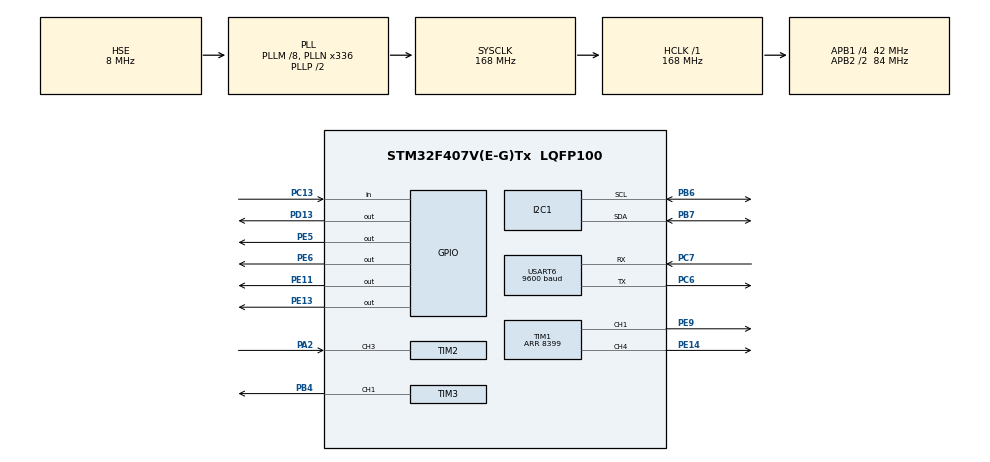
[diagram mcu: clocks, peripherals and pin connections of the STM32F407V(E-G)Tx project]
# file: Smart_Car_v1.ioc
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Mcu.Family=STM32F4
Mcu.Name=STM32F407V(E-G)Tx
Mcu.Package=LQFP100
NVIC.I2C1_ER_IRQn=true\:0\:0\:false\:false\:true\:true\:true\:true
NVIC.I2C1_EV_IRQn=true\:0\:0\:false\:false\:true\:true\:true\:true
NVIC.PriorityGroup=NVIC_PRIORITYGROUP_4
NVIC.TIM1_UP_TIM10_IRQn=true\:4\:0\:true\:false\:true\:true\:true\:true
NVIC.TIM2_IRQn=true\:3\:0\:true\:false\:true\:true\:true\:true
NVIC.USART6_IRQn=true\:2\:0\:true\:false\:true\:true\:true\:true
PA13.GPIO_Label=SWDIO
PA13.Mode=Serial_Wire
PA13.Signal=SYS_JTMS-SWDIO
PA14.GPIO_Label=SWCLK
PA14.Mode=Serial_Wire
PA14.Signal=SYS_JTCK-SWCLK
PA2.Signal=S_TIM2_CH3
PB4.Signal=S_TIM3_CH1
PB6.Mode=I2C
PB6.Signal=I2C1_SCL
PB7.Mode=I2C
PB7.Signal=I2C1_SDA
PC13-ANTI_TAMP.Signal=GPIO_Input
PC6.Mode=Asynchronous
PC6.Signal=USART6_TX
PC7.Mode=Asynchronous
PC7.Signal=USART6_RX
PD13.Signal=GPIO_Output
PE11.Signal=GPIO_Output
PE13.Signal=GPIO_Output
PE14.Signal=S_TIM1_CH4
PE5.Signal=GPIO_Output
PE6.Signal=GPIO_Output
PE9.Signal=S_TIM1_CH1
PH0-OSC_IN.GPIO_Label=PH0-OSC_IN
PH0-OSC_IN.Mode=HSE-External-Oscillator
PH0-OSC_IN.Signal=RCC_OSC_IN
PH1-OSC_OUT.GPIO_Label=PH1-OSC_OUT
PH1-OSC_OUT.Mode=HSE-External-Oscillator
PH1-OSC_OUT.Signal=RCC_OSC_OUT
ProjectManager.HeapSize=0x200
ProjectManager.StackSize=0x400
ProjectManager.TargetToolchain=STM32CubeIDE
RCC.48MHZClocksFreq_Value=48000000
RCC.AHBFreq_Value=168000000
RCC.APB1CLKDivider=RCC_HCLK_DIV4
RCC.APB1Freq_Value=42000000
RCC.APB1TimFreq_Value=84000000
RCC.APB2CLKDivider=RCC_HCLK_DIV2
RCC.APB2Freq_Value=84000000
RCC.APB2TimFreq_Value=168000000
RCC.CortexFreq_Value=168000000
RCC.HCLKFreq_Value=168000000
RCC.HSE_VALUE=8000000
RCC.HSI_VALUE=16000000
RCC.LSE_VALUE=32768
RCC.PLLM=8
RCC.PLLN=336
RCC.PLLQ=7
RCC.PLLSourceVirtual=RCC_PLLSOURCE_HSE
RCC.SYSCLKFreq_VALUE=168000000
RCC.SYSCLKSource=RCC_SYSCLKSOURCE_PLLCLK
RCC.VCOOutputFreq_Value=336000000
SH.S_TIM1_CH1.0=TIM1_CH1,PWM Generation1 CH1
SH.S_TIM1_CH4.0=TIM1_CH4,PWM Generation4 CH4
SH.S_TIM2_CH3.0=TIM2_CH3,Input_Capture3_from_TI3
SH.S_TIM3_CH1.0=TIM3_CH1,PWM Generation1 CH1
TIM1.Channel-PWM\ Generation1\ CH1=TIM_CHANNEL_1
TIM1.Channel-PWM\ Generation4\ CH4=TIM_CHANNEL_4
TIM1.Period=8399
TIM1.Pulse-PWM\ Generation1\ CH1=4200
TIM1.Pulse-PWM\ Generation4\ CH4=4200
TIM2.Channel-Input_Capture3_from_TI3=TIM_CHANNEL_3
TIM2.ICPolarity_CH3=TIM_INPUTCHANNELPOLARITY_BOTHEDGE
TIM2.Prescaler=83
TIM3.Channel-PWM\ Generation1\ CH1=TIM_CHANNEL_1
TIM3.Period=1999
TIM3.Prescaler=839
USART6.BaudRate=9600
USART6.VirtualMode=VM_ASYNC
VP_TIM1_VS_ClockSourceINT.Mode=Internal
VP_TIM2_VS_ClockSourceINT.Mode=Internal
VP_TIM3_VS_ClockSourceINT.Mode=Internal
board=STM32F407G-DISC1

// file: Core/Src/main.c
/* USER CODE BEGIN Header */
/**
  ******************************************************************************
  * @file           : main.c
  * @brief          : Main program body
  ******************************************************************************
  * @attention
  *
  * Copyright (c) 2026 STMicroelectronics.
  * All rights reserved.
  *
  * This software is licensed under terms that can be found in the LICENSE file
  * in the root directory of this software component.
  * If no LICENSE file comes with this software, it is provided AS-IS.
  *
  ******************************************************************************
  */
/* USER CODE END Header */
#include "main.h"

/* USER CODE BEGIN Includes */
#include <stdint.h>
#include <stdio.h>
#include <string.h>
#include "motor_driver.h"
#include "bluetooth.h"
/* USER CODE END Includes */

/* USER CODE BEGIN PTD */
typedef enum {
    CAR_STOP,
    CAR_FORWARD,
    CAR_BACKWARD,
    CAR_LEFT,
    CAR_RIGHT,
    CAR_FORWARD_LEFT,
    CAR_FORWARD_RIGHT,
    CAR_BACKWARD_LEFT,
    CAR_BACKWARD_RIGHT,
} CarState_t;
/* USER CODE END PTD */

/* USER CODE BEGIN PD */
#define IS_FWD(s) ((s)==CAR_FORWARD||(s)==CAR_FORWARD_LEFT||(s)==CAR_FORWARD_RIGHT)
#define IS_BWD(s) ((s)==CAR_BACKWARD||(s)==CAR_BACKWARD_LEFT||(s)==CAR_BACKWARD_RIGHT)
/* USER CODE END PD */

I2C_HandleTypeDef hi2c1;

TIM_HandleTypeDef htim1;
TIM_HandleTypeDef htim2;
TIM_HandleTypeDef htim3;

UART_HandleTypeDef huart6;

void SystemClock_Config(void);
static void MX_GPIO_Init(void);
static void MX_I2C1_Init(void);
static void MX_TIM1_Init(void);
static void MX_TIM2_Init(void);
static void MX_TIM3_Init(void);
static void MX_USART6_UART_Init(void);

int main(void)
{

  /* MCU Configuration--------------------------------------------------------*/

  /* Reset of all peripherals, Initializes the Flash interface and the Systick. */
  HAL_Init();

  /* Configure the system clock */
  SystemClock_Config();

  /* Initialize all configured peripherals */
  MX_GPIO_Init();
  MX_I2C1_Init();
  MX_TIM1_Init();
  MX_TIM2_Init();
  MX_TIM3_Init();
  MX_USART6_UART_Init();
  /* USER CODE BEGIN 2 */
  HAL_Delay(2000);
  motor_init(&htim1);
  bluetooth_init(&huart6);

  char boot_msg[] = "SmartCar Ready\r\n";
  HAL_UART_Transmit(&huart6, (uint8_t*)boot_msg, strlen(boot_msg), 100);
  /* USER CODE END 2 */

  /* Infinite loop */
  while (1)
  {

    /* USER CODE BEGIN 3 */
    static CarState_t state        = CAR_STOP;
    static CarState_t pending      = CAR_STOP;  /* 換向緩衝：等停止後再套用 */
    static uint32_t   stop_until   = 0;         /* 停止保持到這個 tick */
    static uint32_t   last_print   = 0;

    /* 換向緩衝：停止 100ms 後才切換到 pending 狀態 */
    if (pending != CAR_STOP && HAL_GetTick() >= stop_until) {
        state   = pending;
        pending = CAR_STOP;
    }

    /* 藍牙指令 */
    BtCmd_t bt = bluetooth_get_cmd();
    if (bt != BT_CMD_NONE) {
        switch (bt) {
            case BT_CMD_FORWARD:
                if (IS_BWD(state)) {          /* 後退→前進：插入 100ms 停止 */
                    state      = CAR_STOP;
                    pending    = CAR_FORWARD;
                    stop_until = HAL_GetTick() + 100;
                } else {
                    state = CAR_FORWARD;
                }
                break;
            case BT_CMD_BACKWARD:
                if (IS_FWD(state)) {          /* 前進→後退：插入 100ms 停止 */
                    state      = CAR_STOP;
                    pending    = CAR_BACKWARD;
                    stop_until = HAL_GetTick() + 100;
                } else {
                    state = CAR_BACKWARD;
                }
                break;
            case BT_CMD_LEFT:
                if (state == CAR_FORWARD  || state == CAR_FORWARD_LEFT  || state == CAR_FORWARD_RIGHT)
                    state = CAR_FORWARD_LEFT;
                else if (state == CAR_BACKWARD || state == CAR_BACKWARD_LEFT || state == CAR_BACKWARD_RIGHT)
                    state = CAR_BACKWARD_LEFT;
                else if (state == CAR_RIGHT)
                    state = CAR_STOP;  /* 反向 pivot 先停，避免方向瞬切 */
                else
                    state = CAR_LEFT;
                break;
            case BT_CMD_RIGHT:
                if (state == CAR_FORWARD  || state == CAR_FORWARD_LEFT  || state == CAR_FORWARD_RIGHT)
                    state = CAR_FORWARD_RIGHT;
                else if (state == CAR_BACKWARD || state == CAR_BACKWARD_LEFT || state == CAR_BACKWARD_RIGHT)
                    state = CAR_BACKWARD_RIGHT;
                else if (state == CAR_LEFT)
                    state = CAR_STOP;  /* 反向 pivot 先停，避免方向瞬切 */
                else
                    state = CAR_RIGHT;
                break;
            case BT_CMD_STOP:
                state = CAR_STOP;
                break;
            default: break;
        }
    }

    /* 狀態機 */
    switch (state) {
        case CAR_STOP:
            motor_stop();
            break;
        case CAR_FORWARD:
            motor_drive(MOTOR_FORWARD, MOTOR_PWM_MAX, MOTOR_FORWARD, MOTOR_PWM_MAX);
            break;
        case CAR_BACKWARD:
            motor_drive(MOTOR_BACKWARD, MOTOR_PWM_MAX, MOTOR_BACKWARD, MOTOR_PWM_MAX);
            break;
        case CAR_LEFT:
            motor_drive(MOTOR_STOP, 0, MOTOR_FORWARD, MOTOR_PWM_MAX);
            break;
        case CAR_RIGHT:
            motor_drive(MOTOR_FORWARD, MOTOR_PWM_MAX, MOTOR_STOP, 0);
            break;
        case CAR_FORWARD_LEFT:
            motor_drive(MOTOR_FORWARD, MOTOR_PWM_INNER, MOTOR_FORWARD, MOTOR_PWM_MAX);
            break;
        case CAR_FORWARD_RIGHT:
            motor_drive(MOTOR_FORWARD, MOTOR_PWM_MAX, MOTOR_FORWARD, MOTOR_PWM_INNER);
            break;
        case CAR_BACKWARD_LEFT:
            motor_drive(MOTOR_BACKWARD, MOTOR_PWM_INNER, MOTOR_BACKWARD, MOTOR_PWM_MAX);
            break;
        case CAR_BACKWARD_RIGHT:
            motor_drive(MOTOR_BACKWARD, MOTOR_PWM_MAX, MOTOR_BACKWARD, MOTOR_PWM_INNER);
            break;
    }

    /* telemetry：每 300ms 送一次給 App */
    if (HAL_GetTick() - last_print >= 300) {
        last_print = HAL_GetTick();  /* 先記錄時間，避免阻塞傳輸導致計時偏移 */
        uint16_t spd_pct = (state == CAR_STOP) ? 0
                         : (state == CAR_FORWARD_LEFT || state == CAR_BACKWARD_LEFT
                            || state == CAR_FORWARD_RIGHT || state == CAR_BACKWARD_RIGHT)
                           ? (MOTOR_PWM_INNER * 100U / MOTOR_PWM_MAX) : 100;
        bluetooth_send_status(spd_pct, state);
    }

    HAL_Delay(20);
  }
  /* USER CODE END 3 */
}

void SystemClock_Config(void)
{
  RCC_OscInitTypeDef RCC_OscInitStruct = {0};
  RCC_ClkInitTypeDef RCC_ClkInitStruct = {0};

  /** Configure the main internal regulator output voltage
  */
  __HAL_RCC_PWR_CLK_ENABLE();
  __HAL_PWR_VOLTAGESCALING_CONFIG(PWR_REGULATOR_VOLTAGE_SCALE1);

  /** Initializes the RCC Oscillators according to the specified parameters
  * in the RCC_OscInitTypeDef structure.
  */
  RCC_OscInitStruct.OscillatorType = RCC_OSCILLATORTYPE_HSE;
  RCC_OscInitStruct.HSEState = RCC_HSE_ON;
  RCC_OscInitStruct.PLL.PLLState = RCC_PLL_ON;
  RCC_OscInitStruct.PLL.PLLSource = RCC_PLLSOURCE_HSE;
  RCC_OscInitStruct.PLL.PLLM = 8;
  RCC_OscInitStruct.PLL.PLLN = 336;
  RCC_OscInitStruct.PLL.PLLP = RCC_PLLP_DIV2;
  RCC_OscInitStruct.PLL.PLLQ = 7;
  if (HAL_RCC_OscConfig(&RCC_OscInitStruct) != HAL_OK)
  {
    Error_Handler();
  }

  /** Initializes the CPU, AHB and APB buses clocks
  */
  RCC_ClkInitStruct.ClockType = RCC_CLOCKTYPE_HCLK|RCC_CLOCKTYPE_SYSCLK
                              |RCC_CLOCKTYPE_PCLK1|RCC_CLOCKTYPE_PCLK2;
  RCC_ClkInitStruct.SYSCLKSource = RCC_SYSCLKSOURCE_PLLCLK;
  RCC_ClkInitStruct.AHBCLKDivider = RCC_SYSCLK_DIV1;
  RCC_ClkInitStruct.APB1CLKDivider = RCC_HCLK_DIV4;
  RCC_ClkInitStruct.APB2CLKDivider = RCC_HCLK_DIV2;

  if (HAL_RCC_ClockConfig(&RCC_ClkInitStruct, FLASH_LATENCY_5) != HAL_OK)
  {
    Error_Handler();
  }
}

static void MX_I2C1_Init(void)
{

  hi2c1.Instance = I2C1;
  hi2c1.Init.ClockSpeed = 100000;
  hi2c1.Init.DutyCycle = I2C_DUTYCYCLE_2;
  hi2c1.Init.OwnAddress1 = 0;
  hi2c1.Init.AddressingMode = I2C_ADDRESSINGMODE_7BIT;
  hi2c1.Init.DualAddressMode = I2C_DUALADDRESS_DISABLE;
  hi2c1.Init.OwnAddress2 = 0;
  hi2c1.Init.GeneralCallMode = I2C_GENERALCALL_DISABLE;
  hi2c1.Init.NoStretchMode = I2C_NOSTRETCH_DISABLE;
  if (HAL_I2C_Init(&hi2c1) != HAL_OK)
  {
    Error_Handler();
  }

}

static void MX_TIM1_Init(void)
{

  TIM_ClockConfigTypeDef sClockSourceConfig = {0};
  TIM_MasterConfigTypeDef sMasterConfig = {0};
  TIM_OC_InitTypeDef sConfigOC = {0};
  TIM_BreakDeadTimeConfigTypeDef sBreakDeadTimeConfig = {0};

  htim1.Instance = TIM1;
  htim1.Init.Prescaler = 0;
  htim1.Init.CounterMode = TIM_COUNTERMODE_UP;
  htim1.Init.Period = 33599;  /* 168MHz / 33600 = 5kHz，L298N 效率較佳 */
  htim1.Init.ClockDivision = TIM_CLOCKDIVISION_DIV1;
  htim1.Init.RepetitionCounter = 0;
  htim1.Init.AutoReloadPreload = TIM_AUTORELOAD_PRELOAD_DISABLE;
  if (HAL_TIM_Base_Init(&htim1) != HAL_OK)
  {
    Error_Handler();
  }
  sClockSourceConfig.ClockSource = TIM_CLOCKSOURCE_INTERNAL;
  if (HAL_TIM_ConfigClockSource(&htim1, &sClockSourceConfig) != HAL_OK)
  {
    Error_Handler();
  }
  if (HAL_TIM_PWM_Init(&htim1) != HAL_OK)
  {
    Error_Handler();
  }
  sMasterConfig.MasterOutputTrigger = TIM_TRGO_RESET;
  sMasterConfig.MasterSlaveMode = TIM_MASTERSLAVEMODE_DISABLE;
  if (HAL_TIMEx_MasterConfigSynchronization(&htim1, &sMasterConfig) != HAL_OK)
  {
    Error_Handler();
  }
  sConfigOC.OCMode = TIM_OCMODE_PWM1;
  sConfigOC.Pulse = 4200;
  sConfigOC.OCPolarity = TIM_OCPOLARITY_HIGH;
  sConfigOC.OCNPolarity = TIM_OCNPOLARITY_HIGH;
  sConfigOC.OCFastMode = TIM_OCFAST_DISABLE;
  sConfigOC.OCIdleState = TIM_OCIDLESTATE_RESET;
  sConfigOC.OCNIdleState = TIM_OCNIDLESTATE_RESET;
  if (HAL_TIM_PWM_ConfigChannel(&htim1, &sConfigOC, TIM_CHANNEL_1) != HAL_OK)
  {
    Error_Handler();
  }
  if (HAL_TIM_PWM_ConfigChannel(&htim1, &sConfigOC, TIM_CHANNEL_4) != HAL_OK)
  {
    Error_Handler();
  }
  sBreakDeadTimeConfig.OffStateRunMode = TIM_OSSR_DISABLE;
  sBreakDeadTimeConfig.OffStateIDLEMode = TIM_OSSI_DISABLE;
  sBreakDeadTimeConfig.LockLevel = TIM_LOCKLEVEL_OFF;
  sBreakDeadTimeConfig.DeadTime = 0;
  sBreakDeadTimeConfig.BreakState = TIM_BREAK_DISABLE;
  sBreakDeadTimeConfig.BreakPolarity = TIM_BREAKPOLARITY_HIGH;
  sBreakDeadTimeConfig.AutomaticOutput = TIM_AUTOMATICOUTPUT_DISABLE;
  if (HAL_TIMEx_ConfigBreakDeadTime(&htim1, &sBreakDeadTimeConfig) != HAL_OK)
  {
    Error_Handler();
  }
  HAL_TIM_MspPostInit(&htim1);

}

static void MX_TIM2_Init(void)
{

  TIM_ClockConfigTypeDef sClockSourceConfig = {0};
  TIM_MasterConfigTypeDef sMasterConfig = {0};
  TIM_IC_InitTypeDef sConfigIC = {0};

  htim2.Instance = TIM2;
  htim2.Init.Prescaler = 83;
  htim2.Init.CounterMode = TIM_COUNTERMODE_UP;
  htim2.Init.Period = 4294967295;
  htim2.Init.ClockDivision = TIM_CLOCKDIVISION_DIV1;
  htim2.Init.AutoReloadPreload = TIM_AUTORELOAD_PRELOAD_DISABLE;
  if (HAL_TIM_Base_Init(&htim2) != HAL_OK)
  {
    Error_Handler();
  }
  sClockSourceConfig.ClockSource = TIM_CLOCKSOURCE_INTERNAL;
  if (HAL_TIM_ConfigClockSource(&htim2, &sClockSourceConfig) != HAL_OK)
  {
    Error_Handler();
  }
  if (HAL_TIM_IC_Init(&htim2) != HAL_OK)
  {
    Error_Handler();
  }
  sMasterConfig.MasterOutputTrigger = TIM_TRGO_RESET;
  sMasterConfig.MasterSlaveMode = TIM_MASTERSLAVEMODE_DISABLE;
  if (HAL_TIMEx_MasterConfigSynchronization(&htim2, &sMasterConfig) != HAL_OK)
  {
    Error_Handler();
  }
  sConfigIC.ICPolarity = TIM_INPUTCHANNELPOLARITY_BOTHEDGE;
  sConfigIC.ICSelection = TIM_ICSELECTION_DIRECTTI;
  sConfigIC.ICPrescaler = TIM_ICPSC_DIV1;
  sConfigIC.ICFilter = 0;
  if (HAL_TIM_IC_ConfigChannel(&htim2, &sConfigIC, TIM_CHANNEL_3) != HAL_OK)
  {
    Error_Handler();
  }

}

static void MX_TIM3_Init(void)
{

  TIM_ClockConfigTypeDef sClockSourceConfig = {0};
  TIM_MasterConfigTypeDef sMasterConfig = {0};
  TIM_OC_InitTypeDef sConfigOC = {0};

  htim3.Instance = TIM3;
  htim3.Init.Prescaler = 839;
  htim3.Init.CounterMode = TIM_COUNTERMODE_UP;
  htim3.Init.Period = 1999;
  htim3.Init.ClockDivision = TIM_CLOCKDIVISION_DIV1;
  htim3.Init.AutoReloadPreload = TIM_AUTORELOAD_PRELOAD_DISABLE;
  if (HAL_TIM_Base_Init(&htim3) != HAL_OK)
  {
    Error_Handler();
  }
  sClockSourceConfig.ClockSource = TIM_CLOCKSOURCE_INTERNAL;
  if (HAL_TIM_ConfigClockSource(&htim3, &sClockSourceConfig) != HAL_OK)
  {
    Error_Handler();
  }
  if (HAL_TIM_PWM_Init(&htim3) != HAL_OK)
  {
    Error_Handler();
  }
  sMasterConfig.MasterOutputTrigger = TIM_TRGO_RESET;
  sMasterConfig.MasterSlaveMode = TIM_MASTERSLAVEMODE_DISABLE;
  if (HAL_TIMEx_MasterConfigSynchronization(&htim3, &sMasterConfig) != HAL_OK)
  {
    Error_Handler();
  }
  sConfigOC.OCMode = TIM_OCMODE_PWM1;
  sConfigOC.Pulse = 0;
  sConfigOC.OCPolarity = TIM_OCPOLARITY_HIGH;
  sConfigOC.OCFastMode = TIM_OCFAST_DISABLE;
  if (HAL_TIM_PWM_ConfigChannel(&htim3, &sConfigOC, TIM_CHANNEL_1) != HAL_OK)
  {
    Error_Handler();
  }
  HAL_TIM_MspPostInit(&htim3);

}

static void MX_USART6_UART_Init(void)
{

  huart6.Instance = USART6;
  huart6.Init.BaudRate = 9600;
  huart6.Init.WordLength = UART_WORDLENGTH_8B;
  huart6.Init.StopBits = UART_STOPBITS_1;
  huart6.Init.Parity = UART_PARITY_NONE;
  huart6.Init.Mode = UART_MODE_TX_RX;
  huart6.Init.HwFlowCtl = UART_HWCONTROL_NONE;
  huart6.Init.OverSampling = UART_OVERSAMPLING_16;
  if (HAL_UART_Init(&huart6) != HAL_OK)
  {
    Error_Handler();
  }

}

static void MX_GPIO_Init(void)
{
  GPIO_InitTypeDef GPIO_InitStruct = {0};

  /* GPIO Ports Clock Enable */
  __HAL_RCC_GPIOE_CLK_ENABLE();
  __HAL_RCC_GPIOC_CLK_ENABLE();
  __HAL_RCC_GPIOH_CLK_ENABLE();
  __HAL_RCC_GPIOA_CLK_ENABLE();
  __HAL_RCC_GPIOD_CLK_ENABLE();
  __HAL_RCC_GPIOB_CLK_ENABLE();

  /*Configure GPIO pin Output Level */
  HAL_GPIO_WritePin(GPIOE, GPIO_PIN_5|GPIO_PIN_6|GPIO_PIN_11|GPIO_PIN_13, GPIO_PIN_RESET);

  /*Configure GPIO pin Output Level */
  HAL_GPIO_WritePin(GPIOD, GPIO_PIN_13, GPIO_PIN_RESET);

  /*Configure GPIO pins : PE5 PE6 PE11 PE13 */
  GPIO_InitStruct.Pin = GPIO_PIN_5|GPIO_PIN_6|GPIO_PIN_11|GPIO_PIN_13;
  GPIO_InitStruct.Mode = GPIO_MODE_OUTPUT_PP;
  GPIO_InitStruct.Pull = GPIO_NOPULL;
  GPIO_InitStruct.Speed = GPIO_SPEED_FREQ_LOW;
  HAL_GPIO_Init(GPIOE, &GPIO_InitStruct);

  /*Configure GPIO pin : PC13 */
  GPIO_InitStruct.Pin = GPIO_PIN_13;
  GPIO_InitStruct.Mode = GPIO_MODE_INPUT;
  GPIO_InitStruct.Pull = GPIO_NOPULL;
  HAL_GPIO_Init(GPIOC, &GPIO_InitStruct);

  /*Configure GPIO pin : PD13 */
  GPIO_InitStruct.Pin = GPIO_PIN_13;
  GPIO_InitStruct.Mode = GPIO_MODE_OUTPUT_PP;
  GPIO_InitStruct.Pull = GPIO_NOPULL;
  GPIO_InitStruct.Speed = GPIO_SPEED_FREQ_LOW;
  HAL_GPIO_Init(GPIOD, &GPIO_InitStruct);

}

void Error_Handler(void)
{
  __disable_irq();
  while (1)
  {
  }
}
